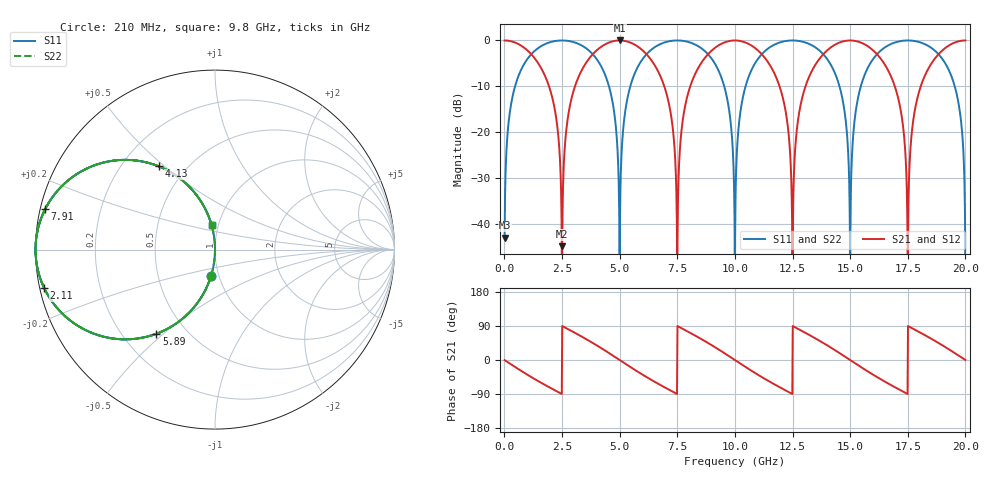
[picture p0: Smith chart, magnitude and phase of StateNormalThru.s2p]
! File created by SignalIntegrity v1.4.3: Signal and Power Integrity Tools
! https://github.com/Nubis-Communications/SignalIntegrity
# MHz S MA R 50.0
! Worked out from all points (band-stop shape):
!   2000 points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, 10 MHz to 20 GHz, reference 50 ohm
!   highest |S21| = 0.00 dB at 5 GHz (marker M1); lowest = -45.0 dB at 2.49 GHz (marker M2)
!   |S21| within 3 dB of the highest: 3.836 GHz to 6.164 GHz (2.329 GHz wide, 46.6 % of centre); 8.836 GHz to 11.16 GHz (2.329 GHz wide, 23.3 % of centre)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
!   lowest |S11| = -43.1 dB at 10 MHz (marker M3), VSWR 1.01, Z = 50 - j0.698 ohm
!   |S11| at or under -10 dB: 4.536 GHz to 5.464 GHz (927.8 MHz wide, 18.6 % of centre); 9.536 GHz to 10.46 GHz (927.8 MHz wide, 9.28 % of centre); 14.54 GHz to 15.46 GHz (927.8 MHz wide, 6.19 % of centre)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
!   |S22| runs from - to 0.0 dB; largest |S21 - S12| = 0
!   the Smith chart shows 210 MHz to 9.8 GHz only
!   S11 on the Smith chart (normalised r, x): 210 MHz: 0.92, -0.27; 2.11 GHz: 0.01, -0.11; 4.13 GHz: 0.35, +0.48; 5.89 GHz: 0.34, -0.47; 7.91 GHz: 0.01, +0.12; 9.8 GHz: 0.93, +0.26
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10  0.006981 -90.4  1 -0.4  1 -0.4  0.006981 -90.4
210  0.1459 -98.4  0.9893 -8.4  0.9893 -8.4  0.1459 -98.4
2110  0.9756 -167.3  0.2196 -77.3  0.2196 -77.3  0.9756 -167.3
2490  1 -179.7  0.005655 -89.7  0.005655 -89.7  1 -179.7
3350  0.8827 152.0  0.4698 62.0  0.4698 62.0  0.8827 152.0
4130  0.5601 124.1  0.8284 34.1  0.8284 34.1  0.5601 124.1
5000  0 18.0  1 0.0  1 0.0  0 154.0
5890  0.5709 -124.8  0.821 -34.8  0.821 -34.8  0.5709 -124.8
6680  0.891 -153.0  0.4541 -63.0  0.4541 -63.0  0.891 -153.0
7490  1 -179.7  0.005655 -89.7  0.005655 -89.7  1 -179.7
7910  0.973 166.7  0.2307 76.7  0.2307 76.7  0.973 166.7
9800  0.139 98.0  0.9903 8.0  0.9903 8.0  0.139 98.0
10010  0.006981 -90.4  1 -0.4  1 -0.4  0.006981 -90.4
10620  0.415 -114.5  0.9098 -24.5  0.9098 -24.5  0.415 -114.5
12500  1 180.0  0 -90.0  0 -90.0  1 180.0
13340  0.8855 152.3  0.4646 62.3  0.4646 62.3  0.8855 152.3
15000  0 44.3  1 0.0  1 0.0  0 124.3
16670  0.8883 -152.7  0.4593 -62.7  0.4593 -62.7  0.8883 -152.7
17500  1 -180.0  0 -90.0  0 -90.0  1 -180.0
19500  0.3396 109.9  0.9406 19.9  0.9406 19.9  0.3396 109.9
19870  0.09059 95.2  0.9959 5.2  0.9959 5.2  0.09059 95.2
20000  0 52.5  1 0.0  1 0.0  0 117.1
